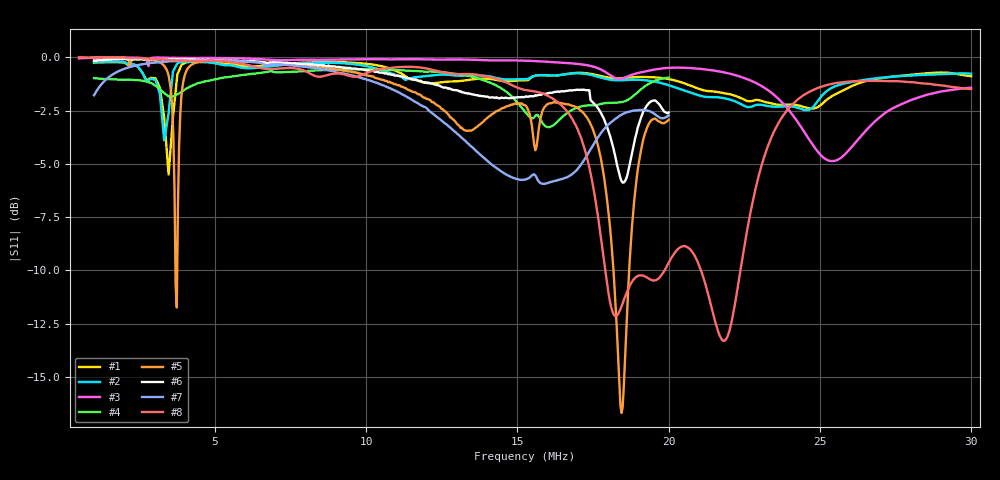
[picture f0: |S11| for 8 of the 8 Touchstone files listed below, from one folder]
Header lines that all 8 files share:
!Keysight Technologies N9918A: A.12.56
!TimeZone: (UTC-08:00) Pacific Time (US & Canada)!Model: N9918A
!Serial: MY56072139
!GPS Latitude:
!GPS Longitude:
!GPS TimeStamp: 0001-01-01 00:00:00Z
!GPS Seconds Since Last Read: 0
!S1P File: Measurement: S11:
# Hz S DB R 50
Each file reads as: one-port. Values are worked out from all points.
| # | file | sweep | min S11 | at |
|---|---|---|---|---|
| 1 | 180_44_CAP_COIL.s1p | 1 MHz to 30 MHz | -5.5 dB | 3.465 MHz |
| 2 | 180_66_CAP_COIL.s1p | 1 MHz to 30 MHz | -3.9 dB | 3.32 MHz |
| 3 | BIG_COIL.s1p | 500 kHz to 30 MHz | -4.9 dB | 25.43 MHz |
| 4 | LCR_COIL.s1p | 1 MHz to 20 MHz | -3.3 dB | 16.01 MHz |
| 5 | NEW180_COIL.s1p | 1 MHz to 20 MHz | -16.7 dB | 18.44 MHz |
| 6 | NEW_COIL.s1p | 1 MHz to 20 MHz | -5.9 dB | 18.48 MHz |
| 7 | R_COIL.s1p | 1 MHz to 20 MHz | -5.9 dB | 15.86 MHz |
| 8 | ROUND_COIL.s1p | 500 kHz to 30 MHz | -13.3 dB | 21.83 MHz |
